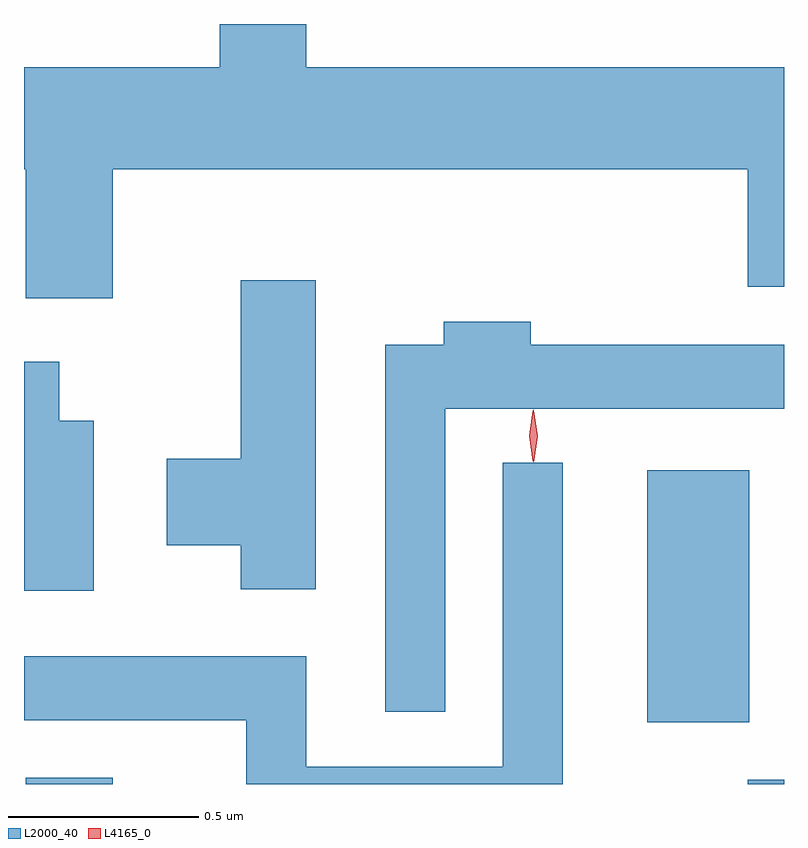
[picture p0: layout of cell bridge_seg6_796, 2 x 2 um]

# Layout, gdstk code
import gdstk
lib = gdstk.Library(unit=1e-6, precision=1e-09)
def R(c, l, rs):  # rectangles x0, y0, x1, y1
    for r in rs: c.add(gdstk.rectangle(r[:2], r[2:], *l))
def P(c, l, *ps):  # polygons
    for p in ps: c.add(gdstk.Polygon(p, *l))
L2000_40 = (2000, 40)
L4165_0 = (4165, 0)

bridge_seg6_796 = lib.new_cell('bridge_seg6_796')
R(bridge_seg6_796, L2000_40, [(437.471,1572.838,437.699,1572.854), (439.371,1572.838,439.466,1572.849), (439.106,1573.001,439.374,1573.664)])
P(bridge_seg6_796, L2000_40, [(437.699,1574.456),(439.371,1574.456),(439.371,1574.146),(439.466,1574.146),(439.466,1574.724),(438.209,1574.724),(438.209,1574.838),(437.981,1574.838),(437.981,1574.724),(437.466,1574.724),(437.466,1574.456),(437.471,1574.456),(437.471,1574.116),(437.699,1574.116)],
  [(438.234,1574.164),(438.036,1574.164),(438.036,1573.694),(437.841,1573.694),(437.841,1573.466),(438.036,1573.466),(438.036,1573.351),(438.234,1573.351)],
  [(438.574,1573.826),(439.466,1573.826),(439.466,1573.994),(438.799,1573.994),(438.799,1574.054),(438.571,1574.054),(438.571,1573.994),(438.416,1573.994),(438.416,1573.028),(438.574,1573.028)],
  [(437.649,1573.794),(437.559,1573.794),(437.559,1573.949),(437.466,1573.949),(437.466,1573.346),(437.649,1573.346)],
  [(438.884,1573.683),(438.726,1573.683),(438.726,1572.884),(438.209,1572.884),(438.209,1573.174),(437.466,1573.174),(437.466,1573.006),(438.051,1573.006),(438.051,1572.838),(438.884,1572.838)])
P(bridge_seg6_796, L4165_0, [(438.805,1573.687),(438.796,1573.754),(438.805,1573.82),(438.806,1573.821),(438.806,1573.82),(438.816,1573.754),(438.806,1573.687),(438.806,1573.687)],
  [(438.807,1573.684),(438.798,1573.753),(438.807,1573.822),(438.808,1573.823),(438.808,1573.822),(438.818,1573.753),(438.808,1573.684),(438.808,1573.684)])

lib.write_gds('bridge_seg6_796.gds')
